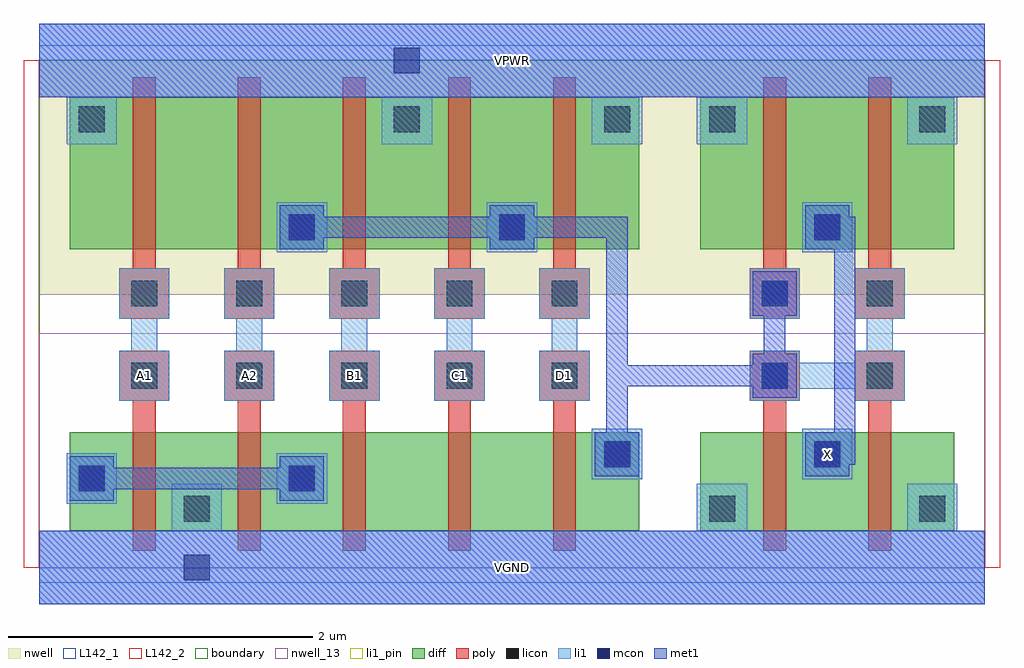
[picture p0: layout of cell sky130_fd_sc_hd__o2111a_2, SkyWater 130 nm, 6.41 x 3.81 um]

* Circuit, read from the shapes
.subckt sky130_fd_sc_hd__o2111a_2 A1 A2 B1 C1 D1 VGND VPWR X
XM1 VGND A1 n1 VSUBS sky130_fd_pr__nfet_01v8 w=0.65 l=0.15
XM2 n1 A2 VGND VSUBS sky130_fd_pr__nfet_01v8 w=0.65 l=0.15
XM3 n2 B1 n1 VSUBS sky130_fd_pr__nfet_01v8 w=0.65 l=0.15
XM4 n3 C1 n2 VSUBS sky130_fd_pr__nfet_01v8 w=0.65 l=0.15
XM5 n4 D1 n3 VSUBS sky130_fd_pr__nfet_01v8 w=0.65 l=0.15
XM6 X n4 VGND VSUBS sky130_fd_pr__nfet_01v8 w=0.65 l=0.15 m=2
XM7 n5 A1 VPWR n6 sky130_fd_pr__pfet_01v8 w=1 l=0.15
XM8 n4 A2 n5 n6 sky130_fd_pr__pfet_01v8 w=1 l=0.15
XM9 VPWR B1 n4 n6 sky130_fd_pr__pfet_01v8 w=1 l=0.15
XM10 n4 C1 VPWR n6 sky130_fd_pr__pfet_01v8 w=1 l=0.15
XM11 VPWR D1 n4 n6 sky130_fd_pr__pfet_01v8 w=1 l=0.15
XM12 X n4 VPWR n6 sky130_fd_pr__pfet_01v8 w=1 l=0.15 m=2
.ends

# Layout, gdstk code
import gdstk
lib = gdstk.Library(unit=1e-6, precision=1e-09)
def R(c, l, rs):  # rectangles x0, y0, x1, y1
    for r in rs: c.add(gdstk.rectangle(r[:2], r[2:], *l))
def A(c, l, x, y, w, h, nx, ny, dx, dy):  # array of equal rectangles
    R(c, l, [(x+i*dx, y+j*dy, x+i*dx+w, y+j*dy+h) for i in range(nx) for j in range(ny)])
def P(c, l, *ps):  # polygons
    for p in ps: c.add(gdstk.Polygon(p, *l))
nwell_13 = (64, 13)
nwell = (64, 20)
diff = (65, 20)
poly = (66, 20)
licon = (66, 44)
li1_pin = (67, 16)
li1 = (67, 20)
mcon = (67, 44)
met1 = (68, 20)
L142_1 = (142, 1)
L142_2 = (142, 2)
boundary = (235, 4)

sky130_fd_sc_hd__o2111a_ = lib.new_cell('sky130_fd_sc_hd__o2111a_2')
R(sky130_fd_sc_hd__o2111a_, nwell_13, [(0,0,6.21,1.54)])
R(sky130_fd_sc_hd__o2111a_, nwell, [(0,1.79,6.21,3.33)])
A(sky130_fd_sc_hd__o2111a_, diff, 0.615, 0.24, 0.69, 0.65, 4, 1, 0.69, 0)
A(sky130_fd_sc_hd__o2111a_, diff, 0.615, 2.09, 0.69, 1, 4, 1, 0.69, 0)
R(sky130_fd_sc_hd__o2111a_, diff, [(0.2,0.24,3.94,0.89), (0.2,0.24,0.615,0.89), (3.375,0.24,3.94,0.89), (4.34,0.24,6.01,0.89), (4.34,0.24,4.755,0.89), (4.755,0.24,5.445,0.89), (5.445,0.24,6.01,0.89), (0.2,2.09,3.94,3.09), (0.2,2.09,0.615,3.09), (3.375,2.09,3.94,3.09), (4.34,2.09,6.01,3.09), (4.34,2.09,4.755,3.09), (4.755,2.09,5.445,3.09), (5.445,2.09,6.01,3.09)])
P(sky130_fd_sc_hd__o2111a_, poly, [(4.755,0.11),(4.755,1.095),(4.665,1.095),(4.665,1.425),(4.995,1.425),(4.995,1.095),(4.905,1.095),(4.905,0.11)],
  [(5.445,0.11),(5.445,1.095),(5.355,1.095),(5.355,1.425),(5.685,1.425),(5.685,1.095),(5.595,1.095),(5.595,0.11)],
  [(4.665,1.635),(4.665,1.965),(4.755,1.965),(4.755,3.22),(4.905,3.22),(4.905,1.965),(4.995,1.965),(4.995,1.635)],
  [(5.355,1.635),(5.355,1.965),(5.445,1.965),(5.445,3.22),(5.595,3.22),(5.595,1.965),(5.685,1.965),(5.685,1.635)],
  [(1.305,0.11),(1.305,1.095),(1.215,1.095),(1.215,1.425),(1.545,1.425),(1.545,1.095),(1.455,1.095),(1.455,0.11)],
  [(1.215,1.635),(1.215,1.965),(1.305,1.965),(1.305,3.22),(1.455,3.22),(1.455,1.965),(1.545,1.965),(1.545,1.635)],
  [(0.615,0.11),(0.615,1.095),(0.525,1.095),(0.525,1.425),(0.855,1.425),(0.855,1.095),(0.765,1.095),(0.765,0.11)],
  [(0.525,1.635),(0.525,1.965),(0.615,1.965),(0.615,3.22),(0.765,3.22),(0.765,1.965),(0.855,1.965),(0.855,1.635)],
  [(2.685,0.11),(2.685,1.095),(2.595,1.095),(2.595,1.425),(2.925,1.425),(2.925,1.095),(2.835,1.095),(2.835,0.11)],
  [(2.595,1.635),(2.595,1.965),(2.685,1.965),(2.685,3.22),(2.835,3.22),(2.835,1.965),(2.925,1.965),(2.925,1.635)],
  [(1.995,0.11),(1.995,1.095),(1.905,1.095),(1.905,1.425),(2.235,1.425),(2.235,1.095),(2.145,1.095),(2.145,0.11)],
  [(1.905,1.635),(1.905,1.965),(1.995,1.965),(1.995,3.22),(2.145,3.22),(2.145,1.965),(2.235,1.965),(2.235,1.635)],
  [(3.375,0.11),(3.375,1.095),(3.285,1.095),(3.285,1.425),(3.615,1.425),(3.615,1.095),(3.525,1.095),(3.525,0.11)],
  [(3.285,1.635),(3.285,1.965),(3.375,1.965),(3.375,3.22),(3.525,3.22),(3.525,1.965),(3.615,1.965),(3.615,1.635)])
A(sky130_fd_sc_hd__o2111a_, licon, 0.605, 1.175, 0.17, 0.17, 5, 2, 0.69, 0.54)
R(sky130_fd_sc_hd__o2111a_, licon, [(0.95,0.3,1.12,0.47), (4.4,0.3,4.57,0.47), (5.78,0.3,5.95,0.47), (0.26,0.5,0.43,0.67), (1.64,0.5,1.81,0.67), (3.71,0.66,3.88,0.83), (5.09,0.66,5.26,0.83), (4.745,1.175,4.915,1.345), (5.435,1.175,5.605,1.345), (4.745,1.715,4.915,1.885), (5.435,1.715,5.605,1.885), (1.64,2.15,1.81,2.32), (3.02,2.15,3.19,2.32), (5.09,2.15,5.26,2.32), (0.26,2.86,0.43,3.03), (2.33,2.86,2.5,3.03), (3.71,2.86,3.88,3.03), (4.4,2.86,4.57,3.03), (5.78,2.86,5.95,3.03)])
R(sky130_fd_sc_hd__o2111a_, li1_pin, [(0,-0.24,6.21,0.24), (5.01,0.58,5.34,0.91), (0,3.09,6.21,3.57)])
P(sky130_fd_sc_hd__o2111a_, li1_pin, [(0.525,1.095),(0.525,1.425),(0.605,1.425),(0.605,1.635),(0.525,1.635),(0.525,1.965),(0.855,1.965),(0.855,1.635),(0.775,1.635),(0.775,1.425),(0.855,1.425),(0.855,1.095)],
  [(2.595,1.095),(2.595,1.425),(2.675,1.425),(2.675,1.635),(2.595,1.635),(2.595,1.965),(2.925,1.965),(2.925,1.635),(2.845,1.635),(2.845,1.425),(2.925,1.425),(2.925,1.095)],
  [(1.905,1.095),(1.905,1.425),(1.985,1.425),(1.985,1.635),(1.905,1.635),(1.905,1.965),(2.235,1.965),(2.235,1.635),(2.155,1.635),(2.155,1.425),(2.235,1.425),(2.235,1.095)],
  [(1.215,1.095),(1.215,1.425),(1.295,1.425),(1.295,1.635),(1.215,1.635),(1.215,1.965),(1.545,1.965),(1.545,1.635),(1.465,1.635),(1.465,1.425),(1.545,1.425),(1.545,1.095)],
  [(3.285,1.095),(3.285,1.425),(3.365,1.425),(3.365,1.635),(3.285,1.635),(3.285,1.965),(3.615,1.965),(3.615,1.635),(3.535,1.635),(3.535,1.425),(3.615,1.425),(3.615,1.095)])
R(sky130_fd_sc_hd__o2111a_, li1, [(0.18,0.42,0.51,0.75), (1.56,0.42,1.89,0.75), (3.63,0.58,3.96,0.91), (5.01,0.58,5.34,0.91), (4.665,1.635,4.995,1.965), (1.56,2.07,1.89,2.4), (2.94,2.07,3.27,2.4), (5.01,2.07,5.34,2.4)])
P(sky130_fd_sc_hd__o2111a_, li1, [(4.665,1.095),(4.665,1.425),(4.995,1.425),(4.995,1.345),(5.355,1.345),(5.355,1.425),(5.435,1.425),(5.435,1.635),(5.355,1.635),(5.355,1.965),(5.685,1.965),(5.685,1.635),(5.605,1.635),(5.605,1.425),(5.685,1.425),(5.685,1.095),(5.355,1.095),(5.355,1.175),(4.995,1.175),(4.995,1.095)],
  [(1.215,1.095),(1.215,1.425),(1.295,1.425),(1.295,1.635),(1.215,1.635),(1.215,1.965),(1.545,1.965),(1.545,1.635),(1.465,1.635),(1.465,1.425),(1.545,1.425),(1.545,1.095)],
  [(0.18,2.78),(0.18,3.09),(0,3.09),(0,3.57),(6.21,3.57),(6.21,3.09),(6.03,3.09),(6.03,2.78),(5.7,2.78),(5.7,3.09),(4.65,3.09),(4.65,2.78),(4.32,2.78),(4.32,3.09),(3.96,3.09),(3.96,2.78),(3.63,2.78),(3.63,3.09),(2.58,3.09),(2.58,2.78),(2.25,2.78),(2.25,3.09),(0.51,3.09),(0.51,2.78)],
  [(0.525,1.095),(0.525,1.425),(0.605,1.425),(0.605,1.635),(0.525,1.635),(0.525,1.965),(0.855,1.965),(0.855,1.635),(0.775,1.635),(0.775,1.425),(0.855,1.425),(0.855,1.095)],
  [(0,-0.24),(0,0.24),(0.87,0.24),(0.87,0.55),(1.2,0.55),(1.2,0.24),(4.32,0.24),(4.32,0.55),(4.65,0.55),(4.65,0.24),(5.7,0.24),(5.7,0.55),(6.03,0.55),(6.03,0.24),(6.21,0.24),(6.21,-0.24)],
  [(2.595,1.095),(2.595,1.425),(2.675,1.425),(2.675,1.635),(2.595,1.635),(2.595,1.965),(2.925,1.965),(2.925,1.635),(2.845,1.635),(2.845,1.425),(2.925,1.425),(2.925,1.095)],
  [(1.905,1.095),(1.905,1.425),(1.985,1.425),(1.985,1.635),(1.905,1.635),(1.905,1.965),(2.235,1.965),(2.235,1.635),(2.155,1.635),(2.155,1.425),(2.235,1.425),(2.235,1.095)],
  [(3.285,1.095),(3.285,1.425),(3.365,1.425),(3.365,1.635),(3.285,1.635),(3.285,1.965),(3.615,1.965),(3.615,1.635),(3.535,1.635),(3.535,1.425),(3.615,1.425),(3.615,1.095)])
R(sky130_fd_sc_hd__o2111a_, mcon, [(0.95,-0.085,1.12,0.085), (0.26,0.5,0.43,0.67), (1.64,0.5,1.81,0.67), (3.71,0.66,3.88,0.83), (5.09,0.66,5.26,0.83), (4.745,1.175,4.915,1.345), (4.745,1.715,4.915,1.885), (1.64,2.15,1.81,2.32), (3.02,2.15,3.19,2.32), (5.09,2.15,5.26,2.32), (2.33,3.245,2.5,3.415)])
R(sky130_fd_sc_hd__o2111a_, met1, [(0,-0.24,6.21,0.24), (0,3.09,6.21,3.57)])
P(sky130_fd_sc_hd__o2111a_, met1, [(3.65,0.6),(3.65,0.89),(3.725,0.89),(3.725,2.165),(3.25,2.165),(3.25,2.09),(2.96,2.09),(2.96,2.165),(1.87,2.165),(1.87,2.09),(1.58,2.09),(1.58,2.38),(1.87,2.38),(1.87,2.305),(2.96,2.305),(2.96,2.38),(3.25,2.38),(3.25,2.305),(3.865,2.305),(3.865,1.33),(4.685,1.33),(4.685,1.405),(4.76,1.405),(4.76,1.655),(4.685,1.655),(4.685,1.945),(4.975,1.945),(4.975,1.655),(4.9,1.655),(4.9,1.405),(4.975,1.405),(4.975,1.115),(4.685,1.115),(4.685,1.19),(3.865,1.19),(3.865,0.89),(3.94,0.89),(3.94,0.6)],
  [(0.2,0.44),(0.2,0.73),(0.49,0.73),(0.49,0.655),(1.58,0.655),(1.58,0.73),(1.87,0.73),(1.87,0.44),(1.58,0.44),(1.58,0.515),(0.49,0.515),(0.49,0.44)],
  [(5.03,0.6),(5.03,0.89),(5.22,0.89),(5.22,2.09),(5.03,2.09),(5.03,2.38),(5.32,2.38),(5.32,2.305),(5.36,2.305),(5.36,0.675),(5.32,0.675),(5.32,0.6)])
R(sky130_fd_sc_hd__o2111a_, L142_1, [(0,-0.1,6.21,0), (0,3.33,6.21,3.43)])
R(sky130_fd_sc_hd__o2111a_, L142_2, [(-0.1,0,0,3.33), (6.21,0,6.31,3.33)])
R(sky130_fd_sc_hd__o2111a_, boundary, [(0,0,6.21,3.33)])
sky130_fd_sc_hd__o2111a_.add(gdstk.Label('X', (5.175,0.745), layer=67, texttype=5))
sky130_fd_sc_hd__o2111a_.add(gdstk.Label('A1', (0.69,1.26), layer=67, texttype=5))
sky130_fd_sc_hd__o2111a_.add(gdstk.Label('C1', (2.76,1.26), layer=67, texttype=5))
sky130_fd_sc_hd__o2111a_.add(gdstk.Label('B1', (2.07,1.26), layer=67, texttype=5))
sky130_fd_sc_hd__o2111a_.add(gdstk.Label('A2', (1.38,1.26), layer=67, texttype=5))
sky130_fd_sc_hd__o2111a_.add(gdstk.Label('D1', (3.45,1.26), layer=67, texttype=5))
sky130_fd_sc_hd__o2111a_.add(gdstk.Label('VGND', (3.105,0), layer=67, texttype=5))
sky130_fd_sc_hd__o2111a_.add(gdstk.Label('VPWR', (3.105,3.33), layer=67, texttype=5))
sky130_fd_sc_hd__o2111a_.add(gdstk.Label('VGND', (3.105,0), layer=68, texttype=5))
sky130_fd_sc_hd__o2111a_.add(gdstk.Label('VPWR', (3.105,3.33), layer=68, texttype=5))

lib.write_gds('sky130_fd_sc_hd__o2111a_2.gds')
